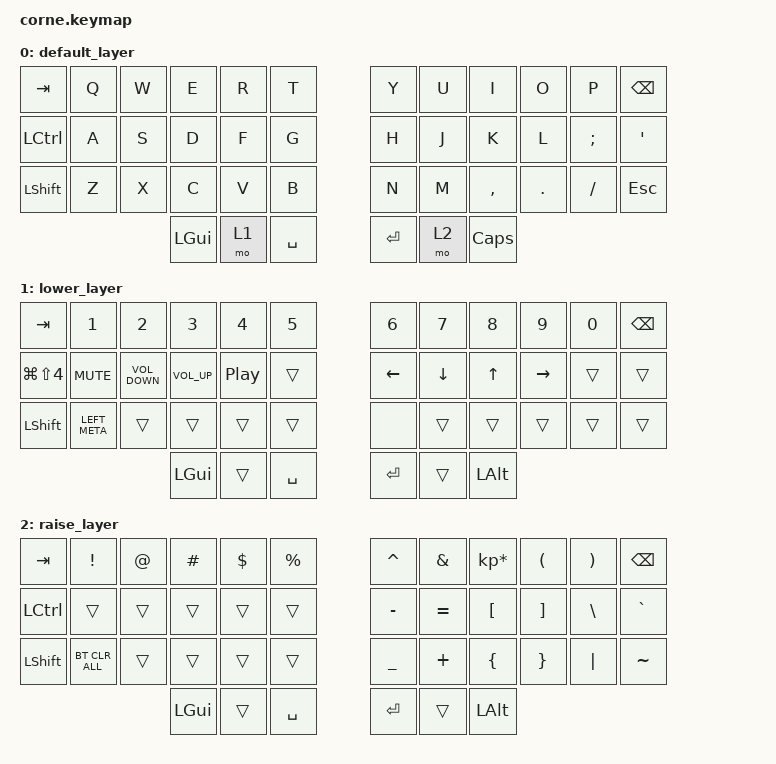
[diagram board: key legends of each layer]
/*
 * Copyright (c) 2020 The ZMK Contributors
 *
 * SPDX-License-Identifier: MIT
 */

#include <behaviors.dtsi>
#include <dt-bindings/zmk/bt.h>
#include <dt-bindings/zmk/keys.h>

/ {
    keymap {
        compatible = "zmk,keymap";

        default_layer {
            // -----------------------------------------------------------------------------------------
            // |  TAB |  Q  |  W  |  E  |  R  |  T  |   |  Y  |  U   |  I  |  O  |  P  | BKSP |
            // | CTRL |  A  |  S  |  D  |  F  |  G  |   |  H  |  J   |  K  |  L  |  ;  |  '   |
            // | SHFT |  Z  |  X  |  C  |  V  |  B  |   |  N  |  M   |  ,  |  .  |  /  | ESC  |
            //                    | GUI | LWR | SPC |   | ENT | RSE  | ALT |

            bindings = <
&kp TAB    &kp Q  &kp W  &kp E     &kp R  &kp T        &kp Y    &kp U  &kp I         &kp O    &kp P     &kp BSPC
&kp LCTRL  &kp A  &kp S  &kp D     &kp F  &kp G        &kp H    &kp J  &kp K         &kp L    &kp SEMI  &kp SQT
&kp LSHFT  &kp Z  &kp X  &kp C     &kp V  &kp B        &kp N    &kp M  &kp COMMA     &kp DOT  &kp FSLH  &kp ESC
                         &kp LGUI  &mo 1  &kp SPACE    &kp RET  &mo 2  &kp CAPSLOCK
            >;
        };

        lower_layer {
            // -----------------------------------------------------------------------------------------
            // |  TAB |  1  |  2  |  3  |  4  |  5  |   |  6  |  7  |  8  |  9  |  0  | BKSP |
            // | BTCLR| BT1 | BT2 | BT3 | BT4 | BT5 |   | LFT | DWN |  UP | RGT |     |      |
            // | SHFT |     |     |     |     |     |   |     |     |     |     |     |      |
            //                    | GUI |     | SPC |   | ENT |     | ALT |

            bindings = <
&kp TAB               &kp N1         &kp N2             &kp N3           &kp N4            &kp N5       &kp N6    &kp N7    &kp N8    &kp N9     &kp N0  &kp BSPC
&kp LG(LS(NUMBER_4))  &kp C_MUTE     &kp C_VOLUME_DOWN  &kp C_VOLUME_UP  &kp C_PLAY_PAUSE  &trans       &kp LEFT  &kp DOWN  &kp UP    &kp RIGHT  &trans  &trans
&kp LSHFT             &kp LEFT_META  &trans             &trans           &trans            &trans       &none     &trans    &trans    &trans     &trans  &trans
                                                        &kp LGUI         &trans            &kp SPACE    &kp RET   &trans    &kp LALT
            >;
        };

        raise_layer {
            // -----------------------------------------------------------------------------------------
            // |  TAB |  !  |  @  |  #  |  $  |  %  |   |  ^  |  &  |  *  |  (  |  )  | BKSP |
            // | CTRL |     |     |     |     |     |   |  -  |  =  |  [  |  ]  |  \  |  `   |
            // | SHFT |     |     |     |     |     |   |  _  |  +  |  {  |  }  | "|" |  ~   |
            //                    | GUI |     | SPC |   | ENT |     | ALT |

            bindings = <
&kp TAB    &kp EXCL        &kp AT  &kp HASH  &kp DLLR  &kp PRCNT    &kp CARET  &kp AMPS   &kp KP_MULTIPLY  &kp LPAR  &kp RPAR  &kp BSPC
&kp LCTRL  &trans          &trans  &trans    &trans    &trans       &kp MINUS  &kp EQUAL  &kp LBKT         &kp RBKT  &kp BSLH  &kp GRAVE
&kp LSHFT  &bt BT_CLR_ALL  &trans  &trans    &trans    &trans       &kp UNDER  &kp PLUS   &kp LBRC         &kp RBRC  &kp PIPE  &kp TILDE
                                   &kp LGUI  &trans    &kp SPACE    &kp RET    &trans     &kp LALT
            >;
        };
    };
};
